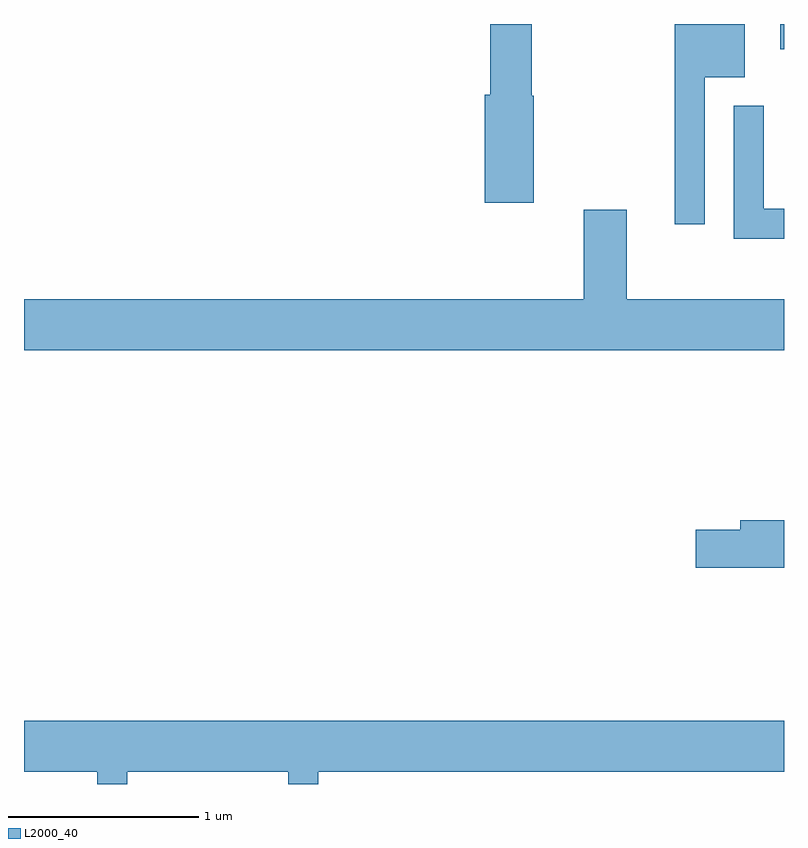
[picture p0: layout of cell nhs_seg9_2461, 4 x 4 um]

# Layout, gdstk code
import gdstk
lib = gdstk.Library(unit=1e-6, precision=1e-09)
def R(c, l, rs):  # rectangles x0, y0, x1, y1
    for r in rs: c.add(gdstk.rectangle(r[:2], r[2:], *l))
def P(c, l, *ps):  # polygons
    for p in ps: c.add(gdstk.Polygon(p, *l))
L2000_40 = (2000, 40)

nhs_seg9_2461 = lib.new_cell('nhs_seg9_2461')
R(nhs_seg9_2461, L2000_40, [(261.591,1982.298,261.611,1982.432)])
P(nhs_seg9_2461, L2000_40, [(260.294,1982.055),(260.284,1982.055),(260.284,1982.432),(260.066,1982.432),(260.066,1982.059),(260.036,1982.059),(260.036,1981.491),(260.294,1981.491)],
  [(261.194,1982.151),(261.404,1982.151),(261.404,1982.432),(261.036,1982.432),(261.036,1981.378),(261.194,1981.378)],
  [(261.611,1981.459),(261.504,1981.459),(261.504,1982.003),(261.346,1982.003),(261.346,1981.301),(261.611,1981.301)],
  [(261.611,1980.984),(260.784,1980.984),(260.784,1981.454),(260.556,1981.454),(260.556,1980.984),(257.611,1980.984),(257.611,1980.716),(261.611,1980.716)],
  [(261.611,1979.819),(261.381,1979.819),(261.381,1979.769),(261.146,1979.769),(261.146,1979.571),(261.611,1979.571)],
  [(258.154,1978.496),(259.001,1978.496),(259.001,1978.432),(259.159,1978.432),(259.159,1978.496),(261.611,1978.496),(261.611,1978.764),(257.611,1978.764),(257.611,1978.496),(257.996,1978.496),(257.996,1978.432),(258.154,1978.432)])

lib.write_gds('nhs_seg9_2461.gds')
